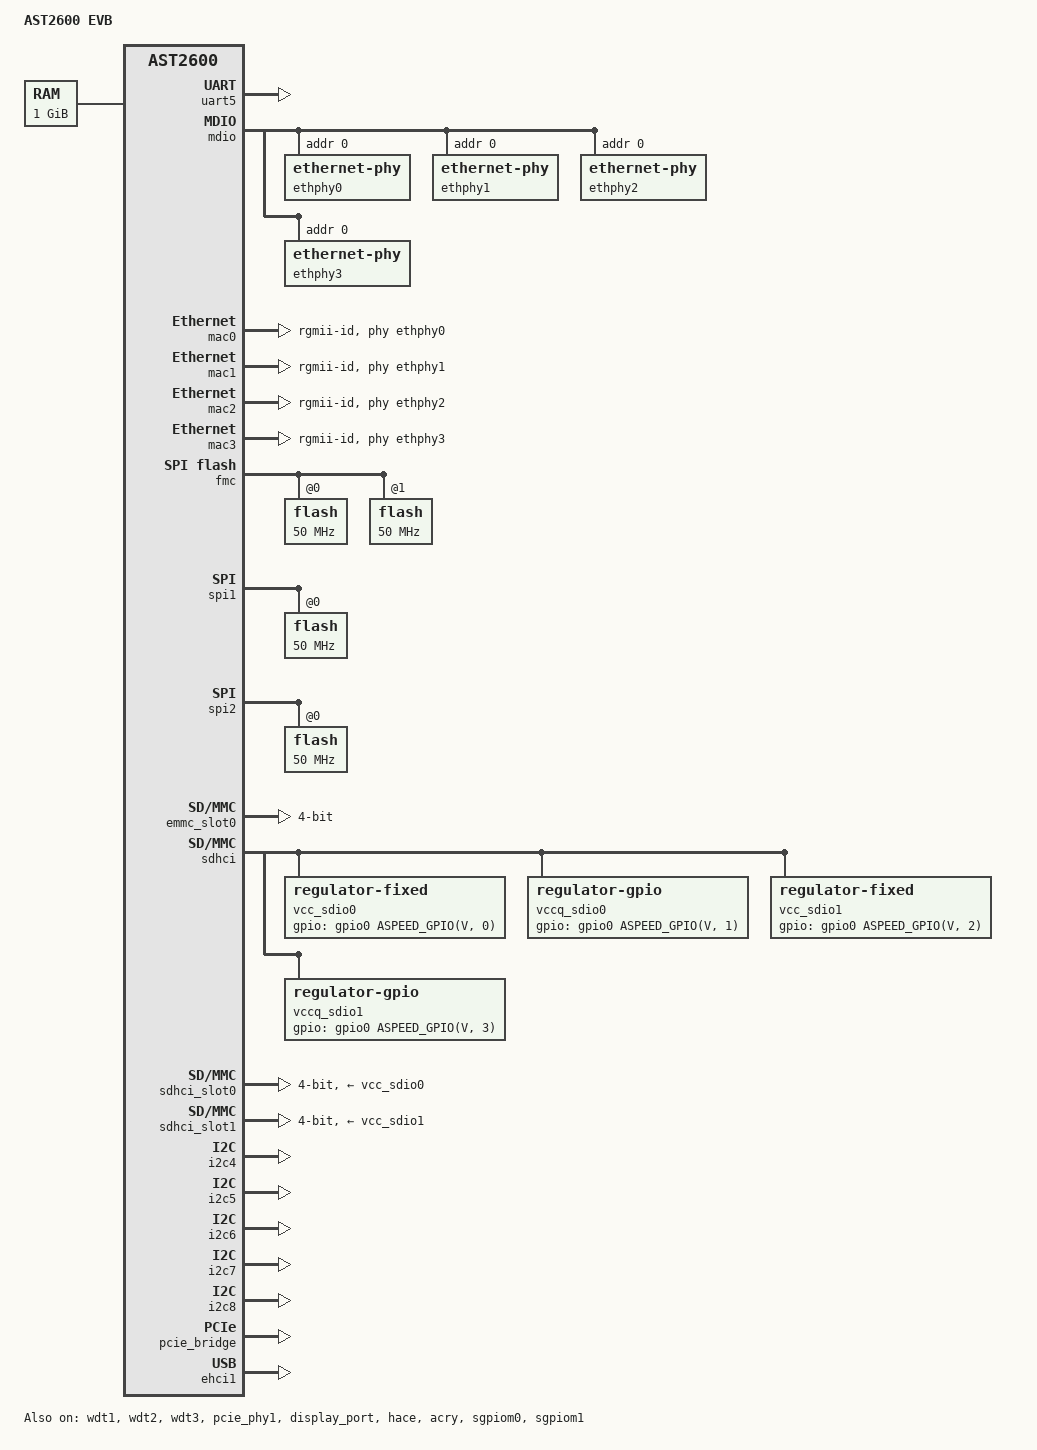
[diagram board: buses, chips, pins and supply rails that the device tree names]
// SPDX-License-Identifier: GPL-2.0+
// Copyright 2023 Aspeed Technology Inc.
/dts-v1/;

#include "ast2600-u-boot.dtsi"

/ {
	model = "AST2600 EVB";
	compatible = "aspeed,ast2600-evb", "aspeed,ast2600";

	memory {
		device_type = "memory";
		reg = <0x80000000 0x40000000>;
	};

	chosen {
		stdout-path = &uart5;
	};

	aliases {
		mmc0 = &emmc_slot0;
		mmc1 = &sdhci_slot0;
		mmc2 = &sdhci_slot1;
		spi0 = &fmc;
		spi1 = &spi1;
		spi2 = &spi2;
		ethernet0 = &mac0;
		ethernet1 = &mac1;
		ethernet2 = &mac2;
		ethernet3 = &mac3;
	};

	cpus {
		cpu@0 {
			clock-frequency = <800000000>;
		};
		cpu@1 {
			clock-frequency = <800000000>;
		};
	};

	/*
	 * reserved-memory layout
	 * 0xb100_0000 ~ 0xb100_FFFF is reserved for mctp0 controller in linux side.
	 * 0xb101_0000 ~ 0xb101_FFFF is reserved for mctp1 controller in linux side.
	 */
	reserved-memory {
		mctp0_reserved: mctp0_reserved@b1000000 {
			reg = <0xb1000000 0x10000>;
			no-map;
		};

		mctp1_reserved: mctp1_reserved@b1010000 {
			reg = <0xb1010000 0x10000>;
			no-map;
		};
	};
};

&uart5 {
	u-boot,dm-pre-reloc;
	status = "okay";
};

&sdrammc {
	clock-frequency = <400000000>;
};

&wdt1 {
	status = "okay";
};

&wdt2 {
	status = "okay";
};

&wdt3 {
	status = "okay";
};

&mdio {
	status = "okay";
	pinctrl-names = "default";
	pinctrl-0 = <	&pinctrl_mdio1_default &pinctrl_mdio2_default
			&pinctrl_mdio3_default &pinctrl_mdio4_default>;
	#address-cells = <1>;
	#size-cells = <0>;
	ethphy0: ethernet-phy@0 {
		reg = <0>;
	};

	ethphy1: ethernet-phy@1 {
		reg = <0>;
	};

	ethphy2: ethernet-phy@2 {
		reg = <0>;
	};

	ethphy3: ethernet-phy@3 {
		reg = <0>;
	};
};

&mac0 {
	status = "okay";
	phy-mode = "rgmii-id";
	phy-handle = <&ethphy0>;
	pinctrl-names = "default";
	pinctrl-0 = <&pinctrl_rgmii1_default>;
	rx-internal-delay-ps = <0>;
	tx-internal-delay-ps = <0>;
};

&mac1 {
	status = "okay";
	phy-mode = "rgmii-id";
	phy-handle = <&ethphy1>;
	pinctrl-names = "default";
	pinctrl-0 = <&pinctrl_rgmii2_default>;
	rx-internal-delay-ps = <0>;
	tx-internal-delay-ps = <0>;
};

&mac2 {
	status = "okay";
	phy-mode = "rgmii-id";
	phy-handle = <&ethphy2>;
	pinctrl-names = "default";
	pinctrl-0 = <&pinctrl_rgmii3_default>;
	rx-internal-delay-ps = <0>;
	tx-internal-delay-ps = <0>;
};

&mac3 {
	status = "okay";
	phy-mode = "rgmii-id";
	phy-handle = <&ethphy3>;
	pinctrl-names = "default";
	pinctrl-0 = <&pinctrl_rgmii4_default>;
	rx-internal-delay-ps = <0>;
	tx-internal-delay-ps = <0>;
};

&fmc {
	status = "okay";

	pinctrl-names = "default";
	pinctrl-0 = <&pinctrl_fmcquad_default>;

	flash@0 {
		status = "okay";
		spi-max-frequency = <50000000>;
		spi-tx-bus-width = <4>;
		spi-rx-bus-width = <4>;
	};

	flash@1 {
		status = "okay";
		spi-max-frequency = <50000000>;
		spi-tx-bus-width = <4>;
		spi-rx-bus-width = <4>;
	};

	flash@2 {
		status = "disabled";
		spi-max-frequency = <50000000>;
		spi-tx-bus-width = <4>;
		spi-rx-bus-width = <4>;
	};
};

&spi1 {
	status = "okay";

	pinctrl-names = "default";
	pinctrl-0 = <&pinctrl_spi1_default &pinctrl_spi1abr_default
			&pinctrl_spi1cs1_default &pinctrl_spi1wp_default
			&pinctrl_spi1wp_default &pinctrl_spi1quad_default>;

	flash@0 {
		status = "okay";
		spi-max-frequency = <50000000>;
		spi-tx-bus-width = <4>;
		spi-rx-bus-width = <4>;
	};

	flash@1 {
		status = "disabled";
		spi-max-frequency = <50000000>;
		spi-tx-bus-width = <4>;
		spi-rx-bus-width = <4>;
	};
};

&spi2 {
	status = "okay";

	pinctrl-names = "default";
	pinctrl-0 = <&pinctrl_spi2_default &pinctrl_spi2cs1_default
			&pinctrl_spi2cs2_default &pinctrl_spi2quad_default>;

	flash@0 {
		status = "okay";
		spi-max-frequency = <50000000>;
		spi-tx-bus-width = <4>;
		spi-rx-bus-width = <4>;
	};

	flash@1 {
		status = "disabled";
		spi-max-frequency = <50000000>;
		spi-tx-bus-width = <4>;
		spi-rx-bus-width = <4>;
	};

	flash@2 {
		status = "disabled";
		spi-max-frequency = <50000000>;
		spi-tx-bus-width = <4>;
		spi-rx-bus-width = <4>;
	};
};

&emmc {
	u-boot,dm-pre-reloc;
	sdhci_hs200;
};

&emmc_slot0 {
	u-boot,dm-pre-reloc;
	status = "okay";
	bus-width = <4>;
	pinctrl-names = "default";
	pinctrl-0 = <&pinctrl_emmc_default>;
	sdhci-drive-type = <1>;
	max-frequency = <200000000>;
};

&sdhci {
	status = "okay";
	sdhci_hs200;

	vcc_sdio0: vcc-sdio0 {
		status = "okay";
		compatible = "regulator-fixed";
		gpio = <&gpio0 ASPEED_GPIO(V, 0) GPIO_ACTIVE_HIGH>;
		regulator-name = "vcc_sdio0";
		regulator-min-microvolt = <3300000>;
		regulator-max-microvolt = <3300000>;
		enable-active-high;
		regulator-boot-on;
	};

	vccq_sdio0: vccq-sdio0 {
		status = "okay";
		compatible = "regulator-gpio";
		gpios = <&gpio0 ASPEED_GPIO(V, 1) GPIO_ACTIVE_HIGH>;
		gpios-states = <1>;
		states = <1800000 0x0>,
			 <3300000 0x1>;
		regulator-name = "vccq_sdio0";
		regulator-type = "voltage";
		regulator-min-microvolt = <1800000>;
		regulator-max-microvolt = <3300000>;
		regulator-always-on;
	};

	vcc_sdio1: vcc-sdio1 {
		status = "okay";
		compatible = "regulator-fixed";
		gpio = <&gpio0 ASPEED_GPIO(V, 2) GPIO_ACTIVE_HIGH>;
		regulator-name = "vcc_sdio1";
		regulator-min-microvolt = <3300000>;
		regulator-max-microvolt = <3300000>;
		enable-active-high;
		regulator-boot-on;
	};

	vccq_sdio1: vccq-sdio1 {
		status = "okay";
		compatible = "regulator-gpio";
		gpios = <&gpio0 ASPEED_GPIO(V, 3) GPIO_ACTIVE_HIGH>;
		gpios-states = <1>;
		states = <1800000 0x0>,
			 <3300000 0x1>;
		regulator-name = "vccq_sdio1";
		regulator-type = "voltage";
		regulator-min-microvolt = <1800000>;
		regulator-max-microvolt = <3300000>;
		regulator-always-on;
	};
};

&sdhci_slot0 {
	status = "okay";
	bus-width = <4>;
	vmmc-supply = <&vcc_sdio0>;
	vqmmc-supply = <&vccq_sdio0>;
	pinctrl-names = "default";
	pinctrl-0 = <&pinctrl_sd1_default>;
	sdhci-drive-type = <3>;
	max-frequency = <100000000>;
};

&sdhci_slot1 {
	status = "okay";
	bus-width = <4>;
	vmmc-supply = <&vcc_sdio1>;
	vqmmc-supply = <&vccq_sdio1>;
	pinctrl-names = "default";
	pinctrl-0 = <&pinctrl_sd2_default>;
	sdhci-drive-type = <3>;
	max-frequency = <100000000>;
};

&i2c4 {
	status = "okay";

	pinctrl-names = "default";
	pinctrl-0 = <&pinctrl_i2c5_default>;
};

&i2c5 {
	status = "okay";

	pinctrl-names = "default";
	pinctrl-0 = <&pinctrl_i2c6_default>;
};

&i2c6 {
	status = "okay";

	pinctrl-names = "default";
	pinctrl-0 = <&pinctrl_i2c7_default>;
};

&i2c7 {
	status = "okay";

	pinctrl-names = "default";
	pinctrl-0 = <&pinctrl_i2c8_default>;
};

&i2c8 {
	status = "okay";

	pinctrl-names = "default";
	pinctrl-0 = <&pinctrl_i2c9_default>;
};

&pcie_phy1 {
	status = "okay";
};

&pcie_bridge {
	status = "okay";
};

#if 0
&fsim0 {
	status = "okay";
};

&fsim1 {
	status = "okay";
};
#endif

#if 0
&vhub {
	status = "okay";
};
#endif

&ehci1 {
	status = "okay";
};

&display_port {
	status = "okay";
};

&hace {
	u-boot,dm-pre-reloc;
	status = "okay";
};

&acry {
	u-boot,dm-pre-reloc;
	status = "okay";
};

&sgpiom0 {
	status = "okay";
	ngpios = <128>;
};

&sgpiom1 {
	status = "okay";
	ngpios = <80>;
};
